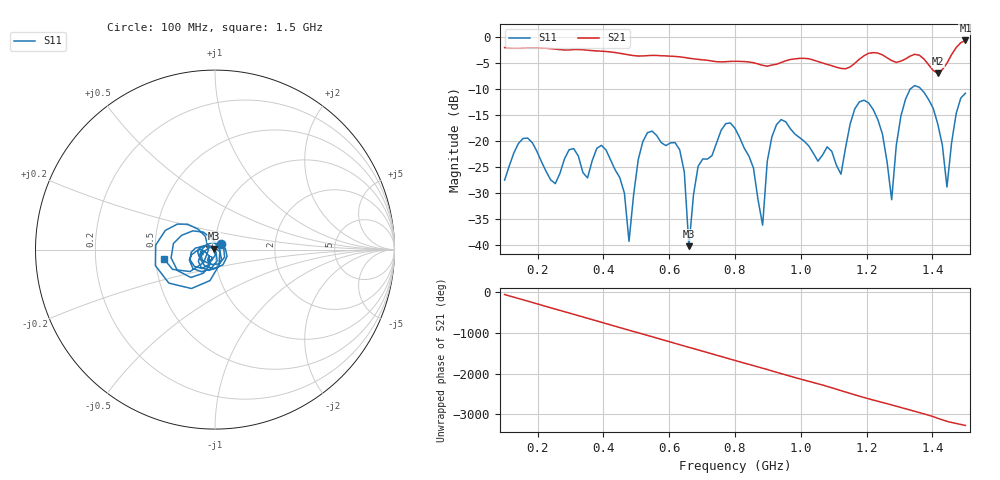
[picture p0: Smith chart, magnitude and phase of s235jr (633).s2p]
! NanoVNA-App
! Date: 2025-09-25 15:09:06
! Start: 100MHz Stop: 1,5GHz Points: 101
! S-Parameter data: F S11 S21 S12 S22
# Hz S RI R 50
!  Frequency  S11_Real  S11_Imag  S21_Real  S21_Imag  S12_Real  S12_Imag  S22_Real  S22_Imag
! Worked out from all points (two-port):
!   101 points, 100 MHz to 1.5 GHz, reference 50 ohm
!   highest |S21| = -0.59 dB at 1.5 GHz (marker M1); lowest = -6.9 dB at 1.416 GHz (marker M2)
!   |S21| within 3 dB of the highest: start of sweep to 597.5 MHz; 1.191 GHz to 1.254 GHz (62.76 MHz wide, 5.14 % of centre) (the widest 2 of 4)
!   lowest |S11| = -40.2 dB at 660 MHz (marker M3), VSWR 1.02, Z = 49.2 + j0.552 ohm
!   |S11| at or under -10 dB: start of sweep to 1.332 GHz; 1.366 GHz to end of sweep
!   S12 and S22 are empty: the file has one direction only
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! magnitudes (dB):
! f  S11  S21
! 100 MHz  -27.5  -2.0
! 156 MHz  -19.4  -2.0
! 338 MHz  -26.0  -2.4
! 408 MHz  -21.6  -2.7
! 478 MHz  -39.2  -3.4
! 520 MHz  -20.0  -3.6
! 576 MHz  -20.3  -3.5
! 632 MHz  -21.6  -3.7
! 660 MHz  -40.2  -4.0
! 688 MHz  -24.8  -4.2
! 800 MHz  -17.5  -4.6
! 884 MHz  -36.1  -5.4
! 926 MHz  -16.8  -5.2
! 1.038 GHz  -22.3  -4.4
! 1.122 GHz  -26.3  -6.0
! 1.192 GHz  -12.1  -3.5
! 1.248 GHz  -18.6  -3.4
! 1.276 GHz  -31.2  -4.5
! 1.332 GHz  -10.0  -3.6
! 1.416 GHz  -16.6  -6.9
! 1.444 GHz  -28.8  -5.0
! 1.5 GHz  -10.7  -0.6
